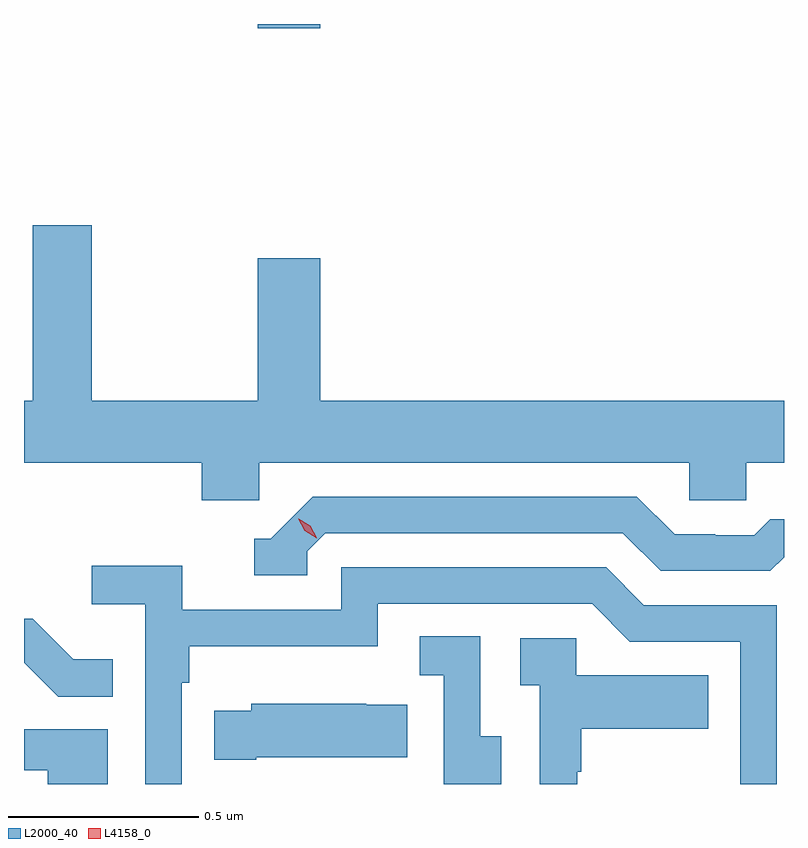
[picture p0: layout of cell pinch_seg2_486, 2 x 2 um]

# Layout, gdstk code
import gdstk
lib = gdstk.Library(unit=1e-6, precision=1e-09)
def R(c, l, rs):  # rectangles x0, y0, x1, y1
    for r in rs: c.add(gdstk.rectangle(r[:2], r[2:], *l))
def P(c, l, *ps):  # polygons
    for p in ps: c.add(gdstk.Polygon(p, *l))
L2000_40 = (2000, 40)
L4158_0 = (4158, 0)

pinch_seg2_486 = lib.new_cell('pinch_seg2_486')
R(pinch_seg2_486, L2000_40, [(932.24,587.508,932.404,587.519)])
P(pinch_seg2_486, L2000_40, [(932.244,586.364),(933.375,586.364),(933.375,586.266),(933.525,586.266),(933.525,586.364),(933.625,586.364),(933.625,586.528),(932.404,586.528),(932.404,586.903),(932.24,586.903),(932.24,586.528),(931.803,586.528),(931.803,586.99),(931.648,586.99),(931.648,586.528),(931.625,586.528),(931.625,586.364),(932.093,586.364),(932.093,586.266),(932.244,586.266)],
  [(932.37,586.131),(932.418,586.179),(933.201,586.179),(933.3,586.08),(933.589,586.08),(933.625,586.116),(933.625,586.216),(933.589,586.216),(933.547,586.173),(933.444,586.173),(933.444,586.176),(933.337,586.176),(933.238,586.275),(932.385,586.275),(932.274,586.164),(932.231,586.164),(932.231,586.068),(932.37,586.068)],
  [(932.04,585.785),(932.06,585.785),(932.06,585.881),(932.556,585.881),(932.556,585.993),(933.12,585.993),(933.219,585.894),(933.51,585.894),(933.51,585.519),(933.606,585.519),(933.606,585.99),(933.256,585.99),(933.157,586.089),(932.46,586.089),(932.46,585.978),(932.042,585.978),(932.042,586.094),(931.803,586.094),(931.803,585.992),(931.944,585.992),(931.944,585.519),(932.04,585.519)],
  [(931.859,585.847),(931.755,585.847),(931.648,585.954),(931.625,585.954),(931.625,585.838),(931.715,585.748),(931.859,585.748)],
  [(932.881,585.645),(932.826,585.645),(932.826,585.908),(932.667,585.908),(932.667,585.805),(932.73,585.805),(932.73,585.519),(932.881,585.519)],
  [(933.081,585.551),(933.091,585.551),(933.091,585.665),(933.425,585.665),(933.425,585.805),(933.078,585.805),(933.078,585.903),(932.931,585.903),(932.931,585.779),(932.982,585.779),(932.982,585.519),(933.081,585.519)],
  [(932.236,585.59),(932.633,585.59),(932.633,585.727),(932.525,585.727),(932.525,585.73),(932.223,585.73),(932.223,585.712),(932.125,585.712),(932.125,585.583),(932.236,585.583)],
  [(931.846,585.663),(931.625,585.663),(931.625,585.555),(931.688,585.555),(931.688,585.519),(931.846,585.519)])
P(pinch_seg2_486, L4158_0, [(932.395,586.166),(932.364,586.185),(932.347,586.217),(932.347,586.217),(932.348,586.217),(932.378,586.199),(932.395,586.167),(932.395,586.166)])

lib.write_gds('pinch_seg2_486.gds')
